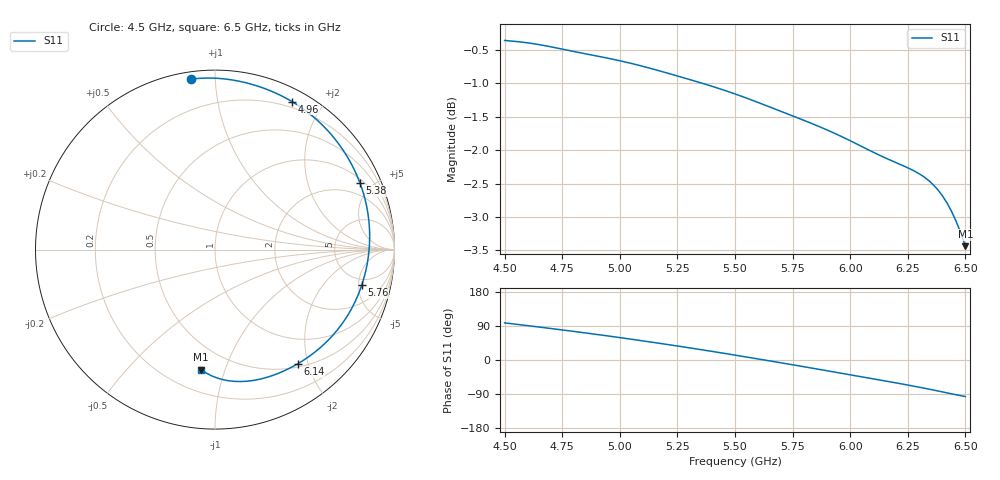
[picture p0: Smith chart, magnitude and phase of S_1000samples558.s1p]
! TOUCHSTONE file generated by CST MICROWAVE STUDIO
! Date and time: Fri Oct 28 14:28:35 2022
! Project name: L.cst
! Parameters = {Di=1.27; Epsilon_r=1.56; InnerDiameter=1.27; Length=2; Lf=10; Lg=60; OuterConductorThickness=0.2921; OuterDiameter=3.6; Wf=3; Wp=41.2; de=1.5; df=6.8; g=0.8; gx=4.49935; gy=4.99854; h=2.34; hf=1.524; px=12.271; py=14.5886; w=9.7; wx=7.77165; wy=9.5901}
! Header version: 2018
! Port assignment regex: !\s*Touchstone port\s*([0-9]+)\s*=\s*(CST MWS port|CST DS port)\s*([0-9]+|Zmin|Zmax)\s*\(\"(.*)\"\)(\s*mode\s*([0-9]+))?.*
! Touchstone port assignment:
! Touchstone port 1 = CST MWS port 1 ("")
# GHz S DB R 50
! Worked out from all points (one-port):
!   101 points, 4.5 GHz to 6.5 GHz, reference 50 ohm
!   lowest |S11| = -3.4 dB at 6.5 GHz (marker M1), VSWR 5.12, Z = 17 - j41.6 ohm
!   |S11| at or under -10 dB: nowhere
!   S11 on the Smith chart (normalised r, x): 4.5 GHz: 0.04, +0.87; 4.96 GHz: 0.14, +1.64; 5.38 GHz: 1.20, +4.25; 5.76 GHz: 4.01, -5.46; 6.14 GHz: 0.55, -1.83; 6.5 GHz: 0.34, -0.83
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4.5  -0.36 97.9
4.58  -0.39 92.1
4.64  -0.42 87.7
4.76  -0.50 78.5
4.86  -0.57 70.7
4.96  -0.63 62.5
5  -0.66 59.1
5.12  -0.77 48.7
5.26  -0.90 36.0
5.38  -1.02 24.7
5.44  -1.09 18.8
5.5  -1.16 12.9
5.56  -1.24 6.9
5.62  -1.31 0.8
5.68  -1.39 -5.4
5.76  -1.50 -13.7
5.82  -1.58 -20.0
5.88  -1.67 -26.3
5.94  -1.76 -32.7
6  -1.86 -39.1
6.06  -1.96 -45.5
6.14  -2.10 -54.1
6.2  -2.19 -60.5
6.26  -2.28 -67.2
6.32  -2.40 -74.2
6.38  -2.59 -81.6
6.44  -2.92 -89.2
6.5  -3.44 -96.5
